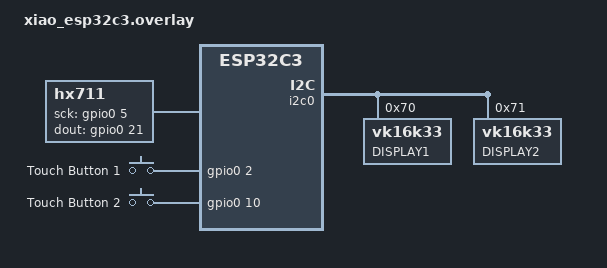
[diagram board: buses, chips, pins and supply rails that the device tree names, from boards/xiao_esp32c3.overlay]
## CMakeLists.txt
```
# SPDX-License-Identifier: Apache-2.0

cmake_minimum_required(VERSION 3.20.0)

find_package(Zephyr REQUIRED HINTS $ENV{ZEPHYR_BASE})
project(EspScale)

add_subdirectory(src/scale)
add_subdirectory(src/touch)
add_subdirectory(src/display)

target_sources(app PRIVATE src/main.c)
```

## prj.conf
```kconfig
CONFIG_I2C=y
CONFIG_GPIO=y
CONFIG_LOG=y
CONFIG_CBPRINTF_FP_SUPPORT=y
```

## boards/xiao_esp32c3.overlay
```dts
&uart0 {
    status = "disabled";
};

&i2c0 {
    display1: led@70 {
        compatible = "vk16k33";
        reg = <0x70>;
        label = "DISPLAY1";
    };
    display2: led@71 {
        compatible = "vk16k33";
        reg = <0x71>;
        label = "DISPLAY2";
    };
};

/ {
    aliases {
        touch0 = &touch_btn0;
        touch1 = &touch_btn1;
    };

    hx711: hx711 {
        compatible = "hx711";
        sck-gpios  = <&gpio0 5 GPIO_ACTIVE_HIGH>;   /* PD_SCK, Ausgang */
        dout-gpios = <&gpio0 21 GPIO_ACTIVE_HIGH>;  /* DOUT, Eingang */
    };

    touch_buttons {
        compatible = "gpio-keys";

        touch_btn0: touch_btn_0 {
            gpios = <&gpio0 2 (GPIO_ACTIVE_HIGH | GPIO_PULL_DOWN)>;
            label = "Touch Button 1";
        };
        touch_btn1: touch_btn_1 {
            gpios = <&gpio0 10 (GPIO_ACTIVE_HIGH | GPIO_PULL_DOWN)>;
            label = "Touch Button 2";
        };
    };
};
```

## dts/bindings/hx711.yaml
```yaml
description: Custom HX711 binding for PoC
compatible: "hx711"

include: base.yaml

properties:
  sck-gpios:
    type: phandle-array
    required: true
    description: SCK clock output pin

  dout-gpios:
    type: phandle-array
    required: true
    description: DOUT data input pin
```

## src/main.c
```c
#include <stdlib.h>
#include <stdio.h>
#include <zephyr/kernel.h>
#include <zephyr/device.h>
#include <zephyr/devicetree.h>
#include <zephyr/drivers/gpio.h>
#include <zephyr/drivers/i2c.h>
#include <zephyr/logging/log.h>

#include "scale.h"
#include "display.h"
#include "touch.h"

// logging
LOG_MODULE_REGISTER(app, LOG_LEVEL_INF);

// Displays
#define NUM_DISPLAYS 2
#define DISPLAY1_NODE DT_NODELABEL(display1)
#define DISPLAY2_NODE DT_NODELABEL(display2)

static const struct i2c_dt_spec display_specs[] = {
    I2C_DT_SPEC_GET(DISPLAY1_NODE),
    I2C_DT_SPEC_GET(DISPLAY2_NODE),
};

static uint8_t display_ram[NUM_DISPLAYS * VK16K33_RAM_SIZE];

static const struct display_config my_display = {
    .display = display_specs,
    .num_displays = NUM_DISPLAYS,
    .display_ram = display_ram,
};

static struct k_work_delayable display_work;
uint8_t index = 0;
static void display_work_handler(struct k_work *work) {
    static int32_t last_weight_dezi_grams = 0;
    struct k_work_delayable *dwork = k_work_delayable_from_work(work);
    char text[5] = {0};
    int32_t weight_dezi_grams = scale_get_weight_dezi_grams();
    snprintf(text, sizeof(text), "%04d", weight_dezi_grams);
    display_clear(&my_display);
    set_digits(&my_display, index, 4, text);
    // index = (index + 1) % (NUM_DISPLAYS * DIGITS_PER_DISPLAY);
    display_update(&my_display);
    last_weight_dezi_grams = weight_dezi_grams;
    k_work_schedule(dwork, K_MSEC(100));
}


int main(void)
{
    touch_init();
    // Initialize the display
    display_init(&my_display);
    k_msleep(1000);

    k_work_init_delayable(&display_work, display_work_handler);
    k_work_schedule(&display_work, K_NO_WAIT);
    
    scale_init();
    // scale_calc_offset();
    // k_msleep(3000);
    // LOG_INF("Start Calibration");
    // k_msleep(3000);
    // scale_calibrate();
    
    // k_msleep(1000);
    // printk("Hello World! %s\n", CONFIG_BOARD_TARGET);
    
    while(1) {
        int32_t weight = scale_get_weight_dezi_grams();
        printk("Weight: %ld decigrams\n", (long)weight);
        k_msleep(100);
    }
        
    return 0;
    
}
```
